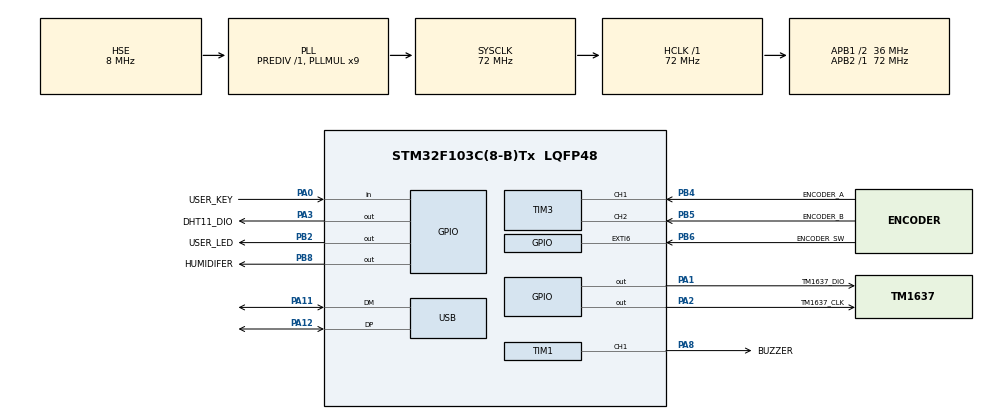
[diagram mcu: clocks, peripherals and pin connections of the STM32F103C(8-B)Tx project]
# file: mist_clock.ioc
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Mcu.Family=STM32F1
Mcu.Name=STM32F103C(8-B)Tx
Mcu.Package=LQFP48
NVIC.EXTI9_5_IRQn=true\:0\:0\:false\:false\:true\:true\:true\:true
NVIC.PriorityGroup=NVIC_PRIORITYGROUP_4
NVIC.RTC_IRQn=true\:0\:0\:false\:false\:true\:true\:true\:true
NVIC.TIM3_IRQn=true\:0\:0\:false\:false\:true\:true\:true\:true
PA0-WKUP.GPIO_Label=USER_KEY
PA0-WKUP.Signal=GPIO_Input
PA1.GPIO_Label=TM1637_DIO
PA1.GPIO_Speed=GPIO_SPEED_FREQ_HIGH
PA1.Signal=GPIO_Output
PA11.Mode=Device
PA11.Signal=USB_DM
PA12.Mode=Device
PA12.Signal=USB_DP
PA13.Mode=Serial_Wire
PA13.Signal=SYS_JTMS-SWDIO
PA14.Mode=Serial_Wire
PA14.Signal=SYS_JTCK-SWCLK
PA2.GPIO_Label=TM1637_CLK
PA2.GPIO_Speed=GPIO_SPEED_FREQ_HIGH
PA2.Signal=GPIO_Output
PA3.GPIO_Label=DHT11_DIO
PA3.GPIO_Speed=GPIO_SPEED_FREQ_HIGH
PA3.Signal=GPIO_Output
PA8.GPIO_Label=BUZZER
PA8.Signal=S_TIM1_CH1
PB2.GPIO_Label=USER_LED
PB2.GPIO_Speed=GPIO_SPEED_FREQ_HIGH
PB2.Signal=GPIO_Output
PB4.GPIO_Label=ENCODER_A
PB4.Signal=S_TIM3_CH1
PB5.GPIO_Label=ENCODER_B
PB5.Signal=S_TIM3_CH2
PB6.GPIO_Label=ENCODER_SW
PB6.GPIO_ModeDefaultEXTI=GPIO_MODE_IT_RISING
PB6.GPIO_PuPd=GPIO_PULLUP
PB6.Signal=GPXTI6
PB8.GPIO_Label=HUMIDIFER
PB8.GPIO_Speed=GPIO_SPEED_FREQ_HIGH
PB8.Signal=GPIO_Output
PC14-OSC32_IN.Mode=LSE-External-Oscillator
PC14-OSC32_IN.Signal=RCC_OSC32_IN
PC15-OSC32_OUT.Mode=LSE-External-Oscillator
PC15-OSC32_OUT.Signal=RCC_OSC32_OUT
PD0-OSC_IN.Mode=HSE-External-Oscillator
PD0-OSC_IN.Signal=RCC_OSC_IN
PD1-OSC_OUT.Mode=HSE-External-Oscillator
PD1-OSC_OUT.Signal=RCC_OSC_OUT
ProjectManager.HeapSize=0x0
ProjectManager.StackSize=0x400
ProjectManager.TargetToolchain=STM32CubeIDE
RCC.AHBFreq_Value=72000000
RCC.APB1CLKDivider=RCC_HCLK_DIV2
RCC.APB1Freq_Value=36000000
RCC.APB1TimFreq_Value=72000000
RCC.APB2Freq_Value=72000000
RCC.APB2TimFreq_Value=72000000
RCC.EnbaleCSS=true
RCC.HCLKFreq_Value=72000000
RCC.PLLMUL=RCC_PLL_MUL9
RCC.PLLSourceVirtual=RCC_PLLSOURCE_HSE
RCC.RTCClockSelection=RCC_RTCCLKSOURCE_LSE
RCC.SYSCLKFreq_VALUE=72000000
RCC.SYSCLKSource=RCC_SYSCLKSOURCE_PLLCLK
RCC.USBFreq_Value=48000000
RCC.USBPrescaler=RCC_USBCLKSOURCE_PLL_DIV1_5
SH.S_TIM1_CH1.0=TIM1_CH1,PWM Generation1 CH1
SH.S_TIM3_CH1.0=TIM3_CH1,Encoder_Interface
SH.S_TIM3_CH2.0=TIM3_CH2,Encoder_Interface
TIM1.Channel-PWM\ Generation1\ CH1=TIM_CHANNEL_1
TIM1.Prescaler=71
TIM1.Pulse-PWM\ Generation1\ CH1=0
TIM4.Prescaler=71
VP_RTC_VS_RTC_Activate.Mode=RTC_Enabled
VP_TIM1_VS_ClockSourceINT.Mode=Internal
VP_TIM4_VS_ClockSourceINT.Mode=Internal
board=custom

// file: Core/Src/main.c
/* USER CODE BEGIN Header */
/**
  ******************************************************************************
  * @file           : main.c
  * @brief          : Main program body
  ******************************************************************************
  * @attention
  *
  * Copyright (c) 2025 STMicroelectronics.
  * All rights reserved.
  *
  * This software is licensed under terms that can be found in the LICENSE file
  * in the root directory of this software component.
  * If no LICENSE file comes with this software, it is provided AS-IS.
  *
  ******************************************************************************
  */
/* USER CODE END Header */
#include "main.h"
#include "rtc.h"
#include "tim.h"
#include "usb.h"
#include "gpio.h"

/* USER CODE BEGIN Includes */
#include "tm1637.h"
#include "dht11.h"
#include "buzzer.h"
#include "encoder.h"
#include "humidifier.h"
/* USER CODE END Includes */

void SystemClock_Config(void);

/* USER CODE BEGIN 0 */
dht11_t dht;
uint32_t encoder;
/* USER CODE END 0 */

int main(void)
{

  /* MCU Configuration--------------------------------------------------------*/

  /* Reset of all peripherals, Initializes the Flash interface and the Systick. */
  HAL_Init();

  /* Configure the system clock */
  SystemClock_Config();

  /* Initialize all configured peripherals */
  MX_GPIO_Init();
  MX_RTC_Init();
  MX_TIM3_Init();
  MX_TIM4_Init();
  MX_USB_PCD_Init();
  MX_TIM1_Init();
  /* USER CODE BEGIN 2 */
  tm1637Init();
  tm1637SetBrightness(3);
  tm1637DisplayDecimal(1234, 1);

  init_dht11(&dht, &htim4, DHT11_DIO_GPIO_Port, DHT11_DIO_Pin);
  buzzer_init();
  encoder_init();
//  buzzer_set(200);
  humidifier_set(1);
  /* USER CODE END 2 */

  /* Infinite loop */
  while (1)
  {

    /* USER CODE BEGIN 3 */
	  HAL_GPIO_TogglePin(USER_LED_GPIO_Port, USER_LED_Pin);
	  readDHT11(&dht);
	  HAL_Delay(50);
	  buzzer_run();
	  encoder = encoder_get_value();

  }
  /* USER CODE END 3 */
}

void SystemClock_Config(void)
{
  RCC_OscInitTypeDef RCC_OscInitStruct = {0};
  RCC_ClkInitTypeDef RCC_ClkInitStruct = {0};
  RCC_PeriphCLKInitTypeDef PeriphClkInit = {0};

  /** Initializes the RCC Oscillators according to the specified parameters
  * in the RCC_OscInitTypeDef structure.
  */
  RCC_OscInitStruct.OscillatorType = RCC_OSCILLATORTYPE_HSE|RCC_OSCILLATORTYPE_LSE;
  RCC_OscInitStruct.HSEState = RCC_HSE_ON;
  RCC_OscInitStruct.HSEPredivValue = RCC_HSE_PREDIV_DIV1;
  RCC_OscInitStruct.LSEState = RCC_LSE_ON;
  RCC_OscInitStruct.HSIState = RCC_HSI_ON;
  RCC_OscInitStruct.PLL.PLLState = RCC_PLL_ON;
  RCC_OscInitStruct.PLL.PLLSource = RCC_PLLSOURCE_HSE;
  RCC_OscInitStruct.PLL.PLLMUL = RCC_PLL_MUL9;
  if (HAL_RCC_OscConfig(&RCC_OscInitStruct) != HAL_OK)
  {
    Error_Handler();
  }

  /** Initializes the CPU, AHB and APB buses clocks
  */
  RCC_ClkInitStruct.ClockType = RCC_CLOCKTYPE_HCLK|RCC_CLOCKTYPE_SYSCLK
                              |RCC_CLOCKTYPE_PCLK1|RCC_CLOCKTYPE_PCLK2;
  RCC_ClkInitStruct.SYSCLKSource = RCC_SYSCLKSOURCE_PLLCLK;
  RCC_ClkInitStruct.AHBCLKDivider = RCC_SYSCLK_DIV1;
  RCC_ClkInitStruct.APB1CLKDivider = RCC_HCLK_DIV2;
  RCC_ClkInitStruct.APB2CLKDivider = RCC_HCLK_DIV1;

  if (HAL_RCC_ClockConfig(&RCC_ClkInitStruct, FLASH_LATENCY_2) != HAL_OK)
  {
    Error_Handler();
  }
  PeriphClkInit.PeriphClockSelection = RCC_PERIPHCLK_RTC|RCC_PERIPHCLK_USB;
  PeriphClkInit.RTCClockSelection = RCC_RTCCLKSOURCE_LSE;
  PeriphClkInit.UsbClockSelection = RCC_USBCLKSOURCE_PLL_DIV1_5;
  if (HAL_RCCEx_PeriphCLKConfig(&PeriphClkInit) != HAL_OK)
  {
    Error_Handler();
  }

  /** Enables the Clock Security System
  */
  HAL_RCC_EnableCSS();
}

void Error_Handler(void)
{
  __disable_irq();
  while (1)
  {
  }
}
